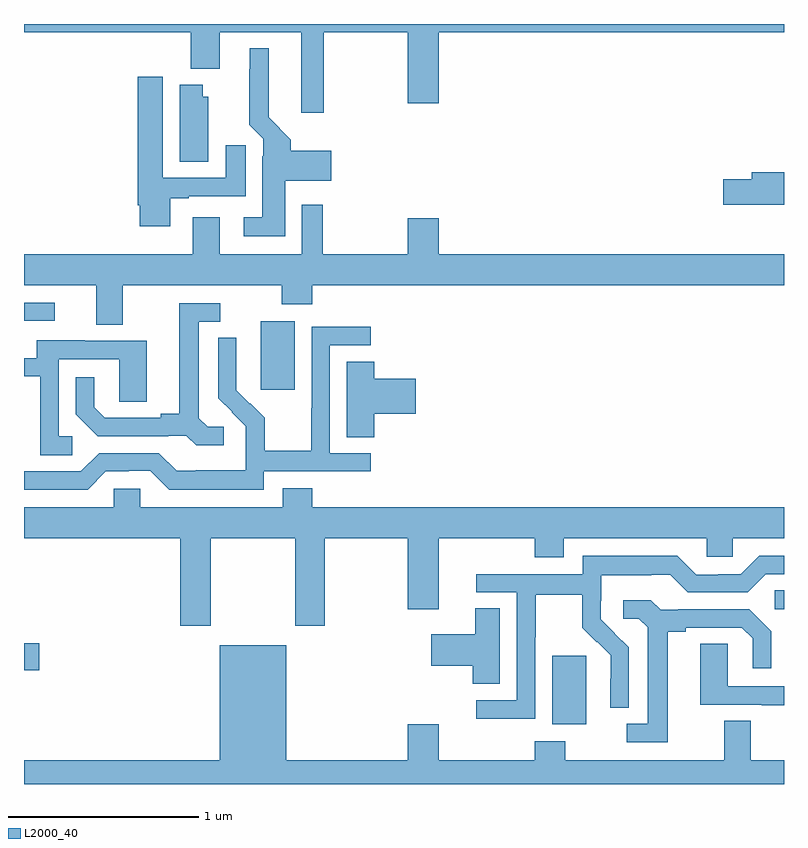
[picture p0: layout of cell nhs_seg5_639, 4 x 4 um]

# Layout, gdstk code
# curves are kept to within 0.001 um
import gdstk
lib = gdstk.Library(unit=1e-6, precision=1e-09)
def R(c, l, rs):  # rectangles x0, y0, x1, y1
    for r in rs: c.add(gdstk.rectangle(r[:2], r[2:], *l))
def P(c, l, *ps):  # polygons
    for p in ps: c.add(gdstk.Polygon(p, *l))
L2000_40 = (2000, 40)

nhs_seg5_639 = lib.new_cell('nhs_seg5_639')
R(nhs_seg5_639, L2000_40, [(153.779,857.114,153.958,857.475), (151,857.398,151.081,857.54), (154.95,857.718,155,857.819), (152.246,858.873,152.425,859.234), (151,859.236,151.162,859.332)])
P(nhs_seg5_639, L2000_40, [(152.577,860.756),(153.02,860.756),(153.02,860.382),(153.184,860.382),(153.184,860.756),(155,860.756),(155,860.799),(151,860.799),(151,860.756),(151.877,860.756),(151.877,860.564),(152.029,860.564),(152.029,860.756),(152.459,860.756),(152.459,860.331),(152.577,860.331)],
  [(152.374,859.973),(152.617,859.973),(152.617,860.131),(152.405,860.131),(152.405,860.19),(152.287,860.308),(152.287,860.671),(152.189,860.671),(152.189,860.561),(152.185,860.561),(152.185,860.27),(152.259,860.196),(152.259,860.102),(152.255,860.102),(152.255,859.783),(152.157,859.783),(152.157,859.682),(152.374,859.682)],
  [(151.771,859.881),(151.867,859.881),(151.867,859.893),(152.167,859.893),(152.167,860.161),(152.063,860.161),(152.063,859.989),(151.729,859.989),(151.729,860.521),(151.598,860.521),(151.598,859.846),(151.61,859.846),(151.61,859.734),(151.771,859.734)],
  [(151.969,860.415),(151.942,860.415),(151.942,860.479),(151.82,860.479),(151.82,860.074),(151.969,860.074)],
  [(155,860.018),(154.829,860.018),(154.829,859.982),(154.68,859.982),(154.68,859.847),(155,859.847)],
  [(151.519,859.424),(152.356,859.424),(152.356,859.325),(152.516,859.325),(152.516,859.424),(155,859.424),(155,859.588),(153.184,859.588),(153.184,859.777),(153.02,859.777),(153.02,859.588),(152.572,859.588),(152.572,859.849),(152.463,859.849),(152.463,859.588),(152.029,859.588),(152.029,859.783),(151.889,859.783),(151.889,859.588),(151,859.588),(151,859.424),(151.379,859.424),(151.379,859.216),(151.519,859.216)],
  [(152.05,858.678),(151.968,858.678),(151.921,858.725),(151.921,859.233),(152.032,859.233),(152.032,859.329),(151.817,859.329),(151.817,858.749),(151.721,858.749),(151.721,858.726),(151.426,858.726),(151.369,858.783),(151.369,858.94),(151.272,858.94),(151.272,858.746),(151.388,858.63),(151.76,858.63),(151.76,858.633),(151.854,858.633),(151.906,858.581),(152.05,858.581)],
  [(152.262,858.444),(152.824,858.444),(152.824,858.54),(152.61,858.54),(152.61,859.107),(152.824,859.107),(152.824,859.206),(152.514,859.206),(152.514,858.776),(152.512,858.776),(152.512,858.553),(152.267,858.553),(152.267,858.727),(152.19,858.804),(152.187,858.801),(152.117,858.872),(152.118,859.148),(152.022,859.148),(152.022,858.83),(152.168,858.682),(152.168,858.585),(152.166,858.585),(152.166,858.451),(151.903,858.451),(151.903,858.447),(151.803,858.447),(151.71,858.54),(151.395,858.54),(151.299,858.444),(151,858.444),(151,858.348),(151.335,858.348),(151.431,858.444),(151.55,858.444),(151.55,858.447),(151.665,858.447),(151.765,858.347),(152.262,858.347)],
  [(151.255,858.63),(151.182,858.63),(151.182,859.035),(151.5,859.035),(151.5,858.811),(151.645,858.811),(151.645,859.131),(151.321,859.131),(151.321,859.135),(151.067,859.135),(151.067,859.041),(151,859.041),(151,858.945),(151.086,858.945),(151.086,858.529),(151.255,858.529)],
  [(152.843,858.749),(153.061,858.749),(153.061,858.932),(152.843,858.932),(152.843,859.022),(152.699,859.022),(152.699,858.625),(152.843,858.625)],
  [(151.983,858.092),(152.428,858.092),(152.428,857.631),(152.583,857.631),(152.583,858.092),(153.02,858.092),(153.02,857.718),(153.184,857.718),(153.184,858.092),(153.689,858.092),(153.689,857.993),(153.841,857.993),(153.841,858.092),(154.593,858.092),(154.593,857.994),(154.731,857.994),(154.731,858.092),(155,858.092),(155,858.256),(152.516,858.256),(152.516,858.355),(152.363,858.355),(152.363,858.256),(151.611,858.256),(151.611,858.354),(151.473,858.354),(151.473,858.256),(151,858.256),(151,858.092),(151.823,858.092),(151.823,857.631),(151.983,857.631)],
  [(153.69,857.572),(153.693,857.572),(153.693,857.796),(153.937,857.796),(153.937,857.621),(154.014,857.544),(154.017,857.547),(154.088,857.477),(154.088,857.354),(154.086,857.354),(154.086,857.2),(154.182,857.2),(154.182,857.518),(154.036,857.666),(154.036,857.763),(154.038,857.763),(154.038,857.897),(154.301,857.897),(154.301,857.901),(154.401,857.901),(154.494,857.808),(154.809,857.808),(154.905,857.904),(155,857.904),(155,858),(154.869,858),(154.773,857.904),(154.655,857.904),(154.655,857.901),(154.539,857.901),(154.439,858.001),(153.942,858.001),(153.942,857.904),(153.381,857.904),(153.381,857.808),(153.594,857.808),(153.594,857.241),(153.381,857.241),(153.381,857.143),(153.69,857.143)],
  [(154.387,857.6),(154.483,857.6),(154.483,857.622),(154.778,857.622),(154.835,857.565),(154.835,857.409),(154.932,857.409),(154.932,857.602),(154.816,857.718),(154.444,857.718),(154.444,857.715),(154.35,857.715),(154.298,857.767),(154.155,857.767),(154.155,857.67),(154.236,857.67),(154.283,857.623),(154.283,857.115),(154.173,857.115),(154.173,857.019),(154.387,857.019)],
  [(153.505,857.723),(153.374,857.723),(153.374,857.587),(153.144,857.587),(153.144,857.422),(153.362,857.422),(153.362,857.326),(153.505,857.326)],
  [(155,857.313),(154.704,857.313),(154.704,857.537),(154.559,857.537),(154.559,857.217),(154.883,857.217),(154.883,857.213),(155,857.213)],
  [(155,856.924),(154.825,856.924),(154.825,857.132),(154.685,857.132),(154.685,856.924),(153.849,856.924),(153.849,857.023),(153.689,857.023),(153.689,856.924),(153.184,856.924),(153.184,857.113),(153.02,857.113),(153.02,856.924),(152.38,856.924),(152.38,857.53),(152.03,857.53),(152.03,856.924),(151,856.924),(151,856.799),(155,856.799)])

lib.write_gds('nhs_seg5_639.gds')
